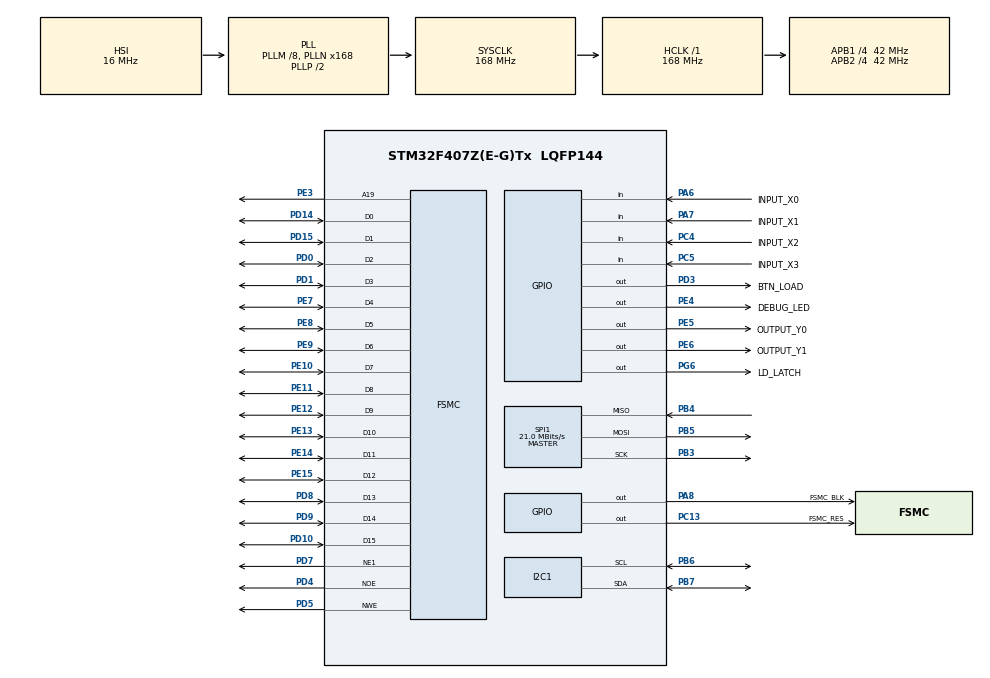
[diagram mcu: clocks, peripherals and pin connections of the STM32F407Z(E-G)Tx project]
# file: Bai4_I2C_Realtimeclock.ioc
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FSMC.AddressSetupTime1=0xf
FSMC.BusTurnAroundDuration1=0
FSMC.DataSetupTime1=60
FSMC.ExtendedAddressSetupTime1=8
FSMC.ExtendedBusTurnAroundDuration1=0
FSMC.ExtendedDataSetupTime1=9
FSMC.ExtendedMode1=FSMC_EXTENDED_MODE_ENABLE
I2C1.I2C_Mode=I2C_Standard
Mcu.Family=STM32F4
Mcu.Name=STM32F407Z(E-G)Tx
Mcu.Package=LQFP144
NVIC.PriorityGroup=NVIC_PRIORITYGROUP_4
NVIC.TIM2_IRQn=true\:0\:0\:false\:false\:true\:true\:true
PA13.Mode=Serial_Wire
PA13.Signal=SYS_JTMS-SWDIO
PA14.Mode=Serial_Wire
PA14.Signal=SYS_JTCK-SWCLK
PA6.GPIO_Label=INPUT_X0
PA6.Signal=GPIO_Input
PA7.GPIO_Label=INPUT_X1
PA7.Signal=GPIO_Input
PA8.GPIO_Label=FSMC_BLK
PA8.Signal=GPIO_Output
PB3.Mode=Full_Duplex_Master
PB3.Signal=SPI1_SCK
PB4.Mode=Full_Duplex_Master
PB4.Signal=SPI1_MISO
PB5.Mode=Full_Duplex_Master
PB5.Signal=SPI1_MOSI
PB6.Mode=I2C
PB6.Signal=I2C1_SCL
PB7.Mode=I2C
PB7.Signal=I2C1_SDA
PC13-ANTI_TAMP.GPIO_Label=FSMC_RES
PC13-ANTI_TAMP.Signal=GPIO_Output
PC4.GPIO_Label=INPUT_X2
PC4.Signal=GPIO_Input
PC5.GPIO_Label=INPUT_X3
PC5.Signal=GPIO_Input
PD0.Signal=FSMC_D2_DA2
PD1.Signal=FSMC_D3_DA3
PD10.Signal=FSMC_D15_DA15
PD14.Signal=FSMC_D0_DA0
PD15.Signal=FSMC_D1_DA1
PD3.GPIO_Label=BTN_LOAD
PD3.Signal=GPIO_Output
PD4.Signal=FSMC_NOE
PD5.Signal=FSMC_NWE
PD7.Mode=NorPsramChipSelect1_1
PD7.Signal=FSMC_NE1
PD8.Signal=FSMC_D13_DA13
PD9.Signal=FSMC_D14_DA14
PE10.Signal=FSMC_D7_DA7
PE11.Signal=FSMC_D8_DA8
PE12.Signal=FSMC_D9_DA9
PE13.Signal=FSMC_D10_DA10
PE14.Signal=FSMC_D11_DA11
PE15.Signal=FSMC_D12_DA12
PE3.Signal=FSMC_A19
PE4.GPIO_Label=DEBUG_LED
PE4.Signal=GPIO_Output
PE5.GPIO_Label=OUTPUT_Y0
PE5.Signal=GPIO_Output
PE6.GPIO_Label=OUTPUT_Y1
PE6.Signal=GPIO_Output
PE7.Signal=FSMC_D4_DA4
PE8.Signal=FSMC_D5_DA5
PE9.Signal=FSMC_D6_DA6
PG6.GPIO_Label=LD_LATCH
PG6.Signal=GPIO_Output
PH0-OSC_IN.Mode=HSE-External-Oscillator
PH0-OSC_IN.Signal=RCC_OSC_IN
PH1-OSC_OUT.Mode=HSE-External-Oscillator
PH1-OSC_OUT.Signal=RCC_OSC_OUT
ProjectManager.HeapSize=0x200
ProjectManager.StackSize=0x400
ProjectManager.TargetToolchain=STM32CubeIDE
RCC.48MHZClocksFreq_Value=84000000
RCC.AHBFreq_Value=168000000
RCC.APB1CLKDivider=RCC_HCLK_DIV4
RCC.APB1Freq_Value=42000000
RCC.APB1TimFreq_Value=84000000
RCC.APB2CLKDivider=RCC_HCLK_DIV4
RCC.APB2Freq_Value=42000000
RCC.APB2TimFreq_Value=84000000
RCC.CortexFreq_Value=168000000
RCC.HCLKFreq_Value=168000000
RCC.HSE_VALUE=8000000
RCC.HSI_VALUE=16000000
RCC.LSE_VALUE=32768
RCC.PLLM=8
RCC.PLLN=168
RCC.SYSCLKFreq_VALUE=168000000
RCC.SYSCLKSource=RCC_SYSCLKSOURCE_PLLCLK
RCC.VCOOutputFreq_Value=336000000
SH.FSMC_A19.0=FSMC_A19,A19_1
SH.FSMC_D0_DA0.0=FSMC_D0,16b-d1
SH.FSMC_D10_DA10.0=FSMC_D10,16b-d1
SH.FSMC_D11_DA11.0=FSMC_D11,16b-d1
SH.FSMC_D12_DA12.0=FSMC_D12,16b-d1
SH.FSMC_D13_DA13.0=FSMC_D13,16b-d1
SH.FSMC_D14_DA14.0=FSMC_D14,16b-d1
SH.FSMC_D15_DA15.0=FSMC_D15,16b-d1
SH.FSMC_D1_DA1.0=FSMC_D1,16b-d1
SH.FSMC_D2_DA2.0=FSMC_D2,16b-d1
SH.FSMC_D3_DA3.0=FSMC_D3,16b-d1
SH.FSMC_D4_DA4.0=FSMC_D4,16b-d1
SH.FSMC_D5_DA5.0=FSMC_D5,16b-d1
SH.FSMC_D6_DA6.0=FSMC_D6,16b-d1
SH.FSMC_D7_DA7.0=FSMC_D7,16b-d1
SH.FSMC_D8_DA8.0=FSMC_D8,16b-d1
SH.FSMC_D9_DA9.0=FSMC_D9,16b-d1
SH.FSMC_NOE.0=FSMC_NOE,Lcd1
SH.FSMC_NWE.0=FSMC_NWE,Lcd1
SPI1.BaudRatePrescaler=SPI_BAUDRATEPRESCALER_2
SPI1.CalculateBaudRate=21.0 MBits/s
SPI1.Direction=SPI_DIRECTION_2LINES
SPI1.Mode=SPI_MODE_MASTER
SPI1.VirtualType=VM_MASTER
TIM2.Period=100-1
TIM2.Prescaler=840-1
VP_TIM2_VS_ClockSourceINT.Mode=Internal
board=custom

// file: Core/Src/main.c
/* USER CODE BEGIN Header */
/**
  ******************************************************************************
  * @file           : main.c
  * @brief          : Main program body
  ******************************************************************************
  * @attention
  *
  * <h2><center>&copy; Copyright (c) 2023 STMicroelectronics.
  * All rights reserved.</center></h2>
  *
  * This software component is licensed by ST under BSD 3-Clause license,
  * the "License"; You may not use this file except in compliance with the
  * License. You may obtain a copy of the License at:
  *                        opensource.org/licenses/BSD-3-Clause
  *
  ******************************************************************************
  */
/* USER CODE END Header */
#include "main.h"
#include "i2c.h"
#include "spi.h"
#include "tim.h"
#include "gpio.h"
#include "fsmc.h"

/* USER CODE BEGIN Includes */
#include "software_timer.h"
#include "led_7seg.h"
#include "button.h"
#include "lcd.h"
#include "picture.h"
#include "ds3231.h"
/* USER CODE END Includes */

/* USER CODE BEGIN PD */
#define DISPLAY_MODE 0
#define ADJUST_MODE 1
#define ALARM_MODE 2
/* USER CODE END PD */

/* USER CODE BEGIN PV */
uint8_t count_led_debug = 0;

uint8_t current_mode = DISPLAY_MODE;
uint8_t adjust_part = 0;
uint8_t alarm_hours = 0;
uint8_t alarm_minutes = 0;

uint8_t alarm_flag = 0;
/* USER CODE END PV */

void SystemClock_Config(void);
/* USER CODE BEGIN PFP */
void system_init();
void test_LedDebug();
void displayTime();
void updateTime();

void adjustTime();
void setAlarm();
void checkAlarm();
/* USER CODE END PFP */

int main(void)
{

  /* MCU Configuration--------------------------------------------------------*/

  /* Reset of all peripherals, Initializes the Flash interface and the Systick. */
  HAL_Init();

  /* Configure the system clock */
  SystemClock_Config();

  /* Initialize all configured peripherals */
  MX_GPIO_Init();
  MX_TIM2_Init();
  MX_SPI1_Init();
  MX_FSMC_Init();
  MX_I2C1_Init();
  /* USER CODE BEGIN 2 */
  system_init();
  /* USER CODE END 2 */

  /* Infinite loop */
  /* USER CODE BEGIN WHILE */
 lcd_Clear(BLACK);
 updateTime();
  while (1)
  {
	  while(!flag_timer2);
	  flag_timer2 = 0;
	  button_Scan();
	  isButtonUp_2000();

	  if (button_count[0] == 1) {
		  current_mode = (current_mode % 3) + 1;
		  lcd_Clear(BLACK);
	  }

	  switch(current_mode) {
	  	  case DISPLAY_MODE:
			  ds3231_ReadTime();
			  displayTime();

			  checkAlarm();

			  break;

		  case ADJUST_MODE:
			  adjustTime();

			  break;

		  case ALARM_MODE:
			  setAlarm();

			  break;
	  }

//	  ds3231_ReadTime();
//	  displayTime();
    /* USER CODE END WHILE */

  }
}

void SystemClock_Config(void)
{
  RCC_OscInitTypeDef RCC_OscInitStruct = {0};
  RCC_ClkInitTypeDef RCC_ClkInitStruct = {0};

  /** Configure the main internal regulator output voltage
  */
  __HAL_RCC_PWR_CLK_ENABLE();
  __HAL_PWR_VOLTAGESCALING_CONFIG(PWR_REGULATOR_VOLTAGE_SCALE1);
  /** Initializes the RCC Oscillators according to the specified parameters
  * in the RCC_OscInitTypeDef structure.
  */
  RCC_OscInitStruct.OscillatorType = RCC_OSCILLATORTYPE_HSI;
  RCC_OscInitStruct.HSIState = RCC_HSI_ON;
  RCC_OscInitStruct.HSICalibrationValue = RCC_HSICALIBRATION_DEFAULT;
  RCC_OscInitStruct.PLL.PLLState = RCC_PLL_ON;
  RCC_OscInitStruct.PLL.PLLSource = RCC_PLLSOURCE_HSI;
  RCC_OscInitStruct.PLL.PLLM = 8;
  RCC_OscInitStruct.PLL.PLLN = 168;
  RCC_OscInitStruct.PLL.PLLP = RCC_PLLP_DIV2;
  RCC_OscInitStruct.PLL.PLLQ = 4;
  if (HAL_RCC_OscConfig(&RCC_OscInitStruct) != HAL_OK)
  {
    Error_Handler();
  }
  /** Initializes the CPU, AHB and APB buses clocks
  */
  RCC_ClkInitStruct.ClockType = RCC_CLOCKTYPE_HCLK|RCC_CLOCKTYPE_SYSCLK
                              |RCC_CLOCKTYPE_PCLK1|RCC_CLOCKTYPE_PCLK2;
  RCC_ClkInitStruct.SYSCLKSource = RCC_SYSCLKSOURCE_PLLCLK;
  RCC_ClkInitStruct.AHBCLKDivider = RCC_SYSCLK_DIV1;
  RCC_ClkInitStruct.APB1CLKDivider = RCC_HCLK_DIV4;
  RCC_ClkInitStruct.APB2CLKDivider = RCC_HCLK_DIV4;

  if (HAL_RCC_ClockConfig(&RCC_ClkInitStruct, FLASH_LATENCY_5) != HAL_OK)
  {
    Error_Handler();
  }
}

/* USER CODE BEGIN 4 */
void system_init(){
	  HAL_GPIO_WritePin(OUTPUT_Y0_GPIO_Port, OUTPUT_Y0_Pin, 0);
	  HAL_GPIO_WritePin(OUTPUT_Y1_GPIO_Port, OUTPUT_Y1_Pin, 0);
	  HAL_GPIO_WritePin(DEBUG_LED_GPIO_Port, DEBUG_LED_Pin, 0);
	  timer_init();
	  led7_init();
	  button_init();
	  lcd_init();
	  ds3231_init();
	  setTimer2(50);
}

void test_LedDebug(){
	count_led_debug = (count_led_debug + 1)%20;
	if(count_led_debug == 0){
		HAL_GPIO_TogglePin(DEBUG_LED_GPIO_Port, DEBUG_LED_Pin);
	}
}

void test_7seg(){
	led7_SetDigit(0, 0, 0);
	led7_SetDigit(5, 1, 0);
	led7_SetDigit(4, 2, 0);
	led7_SetDigit(7, 3, 0);
}
void test_button(){
	for(int i = 0; i < 16; i++){
		if(button_count[i] == 1){
			led7_SetDigit(i/10, 2, 0);
			led7_SetDigit(i%10, 3, 0);
		}
	}
}

void updateTime(){
	ds3231_Write(ADDRESS_YEAR, 25);
	ds3231_Write(ADDRESS_MONTH, 11);
	ds3231_Write(ADDRESS_DATE, 05);
	ds3231_Write(ADDRESS_DAY, 4);
	ds3231_Write(ADDRESS_HOUR, 9);
	ds3231_Write(ADDRESS_MIN, 45);
	ds3231_Write(ADDRESS_SEC, 30);
}

uint8_t isButtonUp()
{
    if (button_count[3] == 1)
        return 1;
    else
        return 0;
}
uint8_t isButtonDown()
{
    if (button_count[7] == 1)
        return 1;
    else
        return 0;
}
uint8_t isDelay200ms = 0;
void isButtonUp_2000()
{
	if (button_count[2] >= 8){
		if ((button_count[2] - 40) % 4 == 0){
			isDelay200ms = 1;
		}
		else isDelay200ms = 0;
	}
	else {
		isDelay200ms = 0;
	}
}

void displayTime(){
	lcd_ShowIntNum(70, 100, ds3231_hours, 2, GREEN, BLACK, 24);
	lcd_ShowIntNum(110, 100, ds3231_min, 2, GREEN, BLACK, 24);
	lcd_ShowIntNum(150, 100, ds3231_sec, 2, GREEN, BLACK, 24);
	lcd_ShowIntNum(20, 130, ds3231_day, 2, YELLOW, BLACK, 24);
	lcd_ShowIntNum(70, 130, ds3231_date, 2, YELLOW, BLACK, 24);
	lcd_ShowIntNum(110, 130, ds3231_month, 2, YELLOW, BLACK, 24);
	lcd_ShowIntNum(150, 130, ds3231_year, 2, YELLOW, BLACK, 24);
}
uint8_t counter_blink=0;
uint8_t blink_flag =0;
void adjustTime() {
//    lcd_ShowStr(10, 10, "Adjust Time", RED, BLACK, 24);
	counter_blink = (counter_blink + 1)%10;
    // Increment the selected part of time
    if (isButtonUp()) {
        if (adjust_part == 0){
        	ds3231_hours = (ds3231_hours + 1) % 24;
        }
        else if (adjust_part == 1) ds3231_min = (ds3231_min + 1) % 60;
        else if (adjust_part == 2) ds3231_sec = (ds3231_sec + 1) % 60;
        else if (adjust_part == 3) ds3231_day = (ds3231_day + 1) % 7;
        else if (adjust_part == 4) ds3231_date = (ds3231_date) % 30 + 1;
        else if (adjust_part == 5) ds3231_month = (ds3231_month) % 12 + 1;
        else if (adjust_part == 6) ds3231_year = ds3231_year + 1;
    }

    if (isDelay200ms){
        if (adjust_part == 0){
        	ds3231_hours = (ds3231_hours + 1) % 24;
        }
        else if (adjust_part == 1) ds3231_min = (ds3231_min + 1) % 60;
        else if (adjust_part == 2) ds3231_sec = (ds3231_sec + 1) % 60;
        else if (adjust_part == 3) ds3231_day = (ds3231_day + 1) % 7;
        else if (adjust_part == 4) ds3231_date = (ds3231_date) % 30 + 1;
        else if (adjust_part == 5) ds3231_month = (ds3231_month) % 12 + 1;
        else if (adjust_part == 6) ds3231_year = ds3231_year + 1;
    }

    // Save part and move to the next part
    if (isButtonDown()) {
        adjust_part = (adjust_part + 1) % 7;  // Rotate through hours, minutes, seconds

        if (adjust_part == 0) {
        	ds3231_Write(ADDRESS_HOUR, ds3231_hours);
			ds3231_Write(ADDRESS_MIN, ds3231_min);
			ds3231_Write(ADDRESS_SEC, ds3231_sec);
			ds3231_Write(ADDRESS_DAY, ds3231_day);
			ds3231_Write(ADDRESS_DATE, ds3231_date);
			ds3231_Write(ADDRESS_MONTH, ds3231_month);
			ds3231_Write(ADDRESS_YEAR, ds3231_year);
            current_mode = DISPLAY_MODE;
        }
    }

    // Display and blink selected part
    displayTime();
    if (adjust_part == 0) {
    	if(counter_blink ==0 &&blink_flag ==0)
    	{
    		lcd_ShowIntNum(70, 100, ds3231_hours, 2, GREEN, BLACK, 24);
    		blink_flag =1;
    	}
    	else{
    		lcd_ShowIntNum(70, 100, ds3231_hours, 2, BLACK, BLACK, 24);
    		blink_flag =0;
    	}
    }
    else if (adjust_part == 1) {
    	if(counter_blink ==0 &&blink_flag ==0)
    	{
    		lcd_ShowIntNum(110, 100, ds3231_min, 2, GREEN, BLACK, 24);
    		blink_flag =1;
    	}
    	else{
    		lcd_ShowIntNum(110, 100, ds3231_min, 2, BLACK, BLACK, 24);
    		blink_flag =0;
    	}
    }

    else if (adjust_part == 2) {
    	if(counter_blink ==0 &&blink_flag ==0)
    	{
    		lcd_ShowIntNum(150, 100, ds3231_sec, 2, GREEN, BLACK, 24);
    		blink_flag =1;
    	}
    	else{
    		lcd_ShowIntNum(150, 100, ds3231_sec, 2, BLACK, BLACK, 24);
    		blink_flag =0;
    	}
    }

    else if (adjust_part == 3) {
    	if(counter_blink ==0 &&blink_flag ==0)
    	{
    		lcd_ShowIntNum(20, 130, ds3231_day, 2, YELLOW, BLACK, 24);
    		blink_flag =1;
    	}
    	else{
    		lcd_ShowIntNum(20, 130, ds3231_day, 2, BLACK, BLACK, 24);
    		blink_flag =0;
    	}
    }
    else if (adjust_part == 4) {
    	if(counter_blink ==0 &&blink_flag ==0)
    	{
    		lcd_ShowIntNum(70, 130, ds3231_date, 2, YELLOW, BLACK, 24);
    		blink_flag =1;
    	}
    	else{
    		lcd_ShowIntNum(70, 130, ds3231_date, 2, BLACK, BLACK, 24);
    		blink_flag =0;
    	}
    }
    else if (adjust_part == 5) {
    	if(counter_blink ==0 &&blink_flag ==0)
    	{
    		lcd_ShowIntNum(110, 130, ds3231_month, 2, YELLOW, BLACK, 24);
    		blink_flag =1;
    	}
    	else{
    		lcd_ShowIntNum(110, 130, ds3231_month, 2, BLACK, BLACK, 24);
    		blink_flag =0;
    	}
    }
    else if (adjust_part == 6) {
    	if(counter_blink ==0 &&blink_flag ==0)
    	{
    		lcd_ShowIntNum(150, 130, ds3231_year, 2, YELLOW, BLACK, 24);
    		blink_flag =1;
    	}
    	else{
    		lcd_ShowIntNum(150, 130, ds3231_year, 2, BLACK, BLACK, 24);
    		blink_flag =0;
    	}
    }
}
static uint8_t alarm_active = 2;  // Flag to indicate if the alarm is active
static uint16_t alarm_duration = 0;

void setAlarm() {
//    lcd_ShowStr(10, 10, "Set Alarm", YELLOW, BLACK, 24);

    // Adjust alarm time
    if (isButtonUp()) {
        if (adjust_part == 0) alarm_hours = (alarm_hours + 1) % 24;
        else if (adjust_part == 1) alarm_minutes = (alarm_minutes + 1) % 60;

    }

    if (isButtonDown()) {
        adjust_part = (adjust_part + 1) % 2;  // Move to next part

        if (adjust_part == 0) {
            current_mode = DISPLAY_MODE; // Return to view mode
            alarm_active = 1;
        }
    }

    // Display alarm time
    lcd_ShowIntNum(70, 100, alarm_hours, 2, YELLOW, BLACK, 24);
    lcd_ShowIntNum(110, 100, alarm_minutes, 2, YELLOW, BLACK, 24);

}
uint8_t flash_counter = 0;
void checkAlarm() {
    ds3231_ReadTime();

    // Check if it's time for the alarm to trigger
    if (ds3231_hours == alarm_hours && ds3231_min == alarm_minutes) {
        flash_counter++;  // Increment the flash counter every time checkAlarm is called

        // Flash red screen every 5 seconds
        if (flash_counter >= 20) {
            lcd_Fill(0, 0, 240, 320, RED);  // Flash red screen
            flash_counter = 0;  // Reset the counter after flashing
            if(flash_counter == 0){
            	lcd_Clear(BLACK);
            }
        }
    } else {
        flash_counter = 0;  // Reset counter if not in alarm time
    }
}

//void checkAlarm() {
//  // Counter to track how long the alarm is active
//
//    ds3231_ReadTime();
//
//    // Check if the current time matches the alarm time and the alarm is not already active
//    if (ds3231_hours == alarm_hours && ds3231_min == alarm_minutes && alarm_active == 0) {
//        alarm_active = 1;  // Activate the alarm
//        alarm_duration = 0;  // Reset the duration counter
//    }
//
//    // If the alarm is active, flash the screen for 5 seconds
//    if (alarm_active) {
//        lcd_Fill(0, 0, 240, 320, RED);  // Flash red screen
//        alarm_duration++;  // Increment the duration counter
//
//        // Check if 5 seconds (or 500 cycles) have passed
//        if (alarm_duration >= 100) {  // Assuming 100ms per cycle, 500 cycles = 5 seconds
////            alarm_active = 0;  // Deactivate the alarm
//            lcd_Clear(BLACK);  // Clear the screen to stop the flashing
//        }
//    }
//}

/* USER CODE END 4 */

void Error_Handler(void)
{
  __disable_irq();
  while (1)
  {
  }
}

/************************ (C) COPYRIGHT STMicroelectronics *****END OF FILE****/
